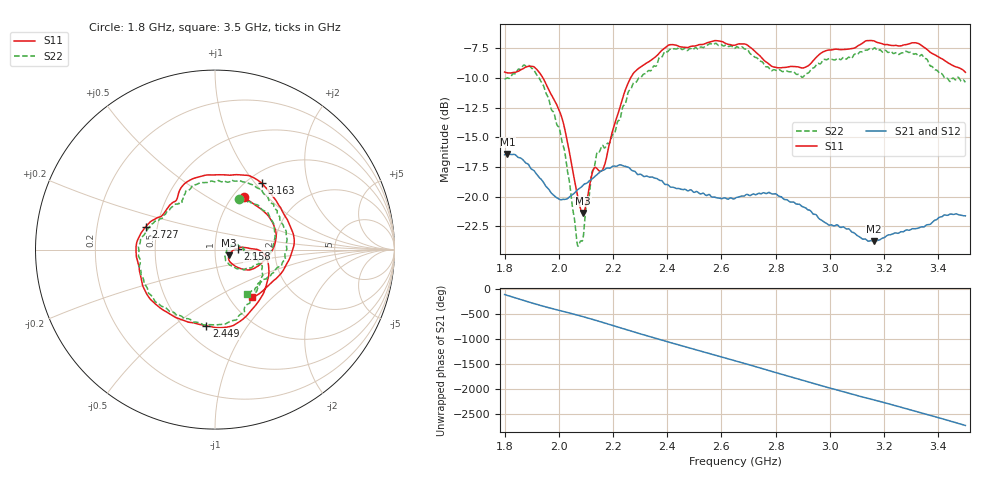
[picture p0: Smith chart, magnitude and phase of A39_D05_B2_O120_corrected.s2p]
! Created with skrf 1.9.0 (http://scikit-rf.org).
# Hz S RI R 50.0
!freq ReS11 ImS11 ReS21 ImS21 ReS12 ImS12 ReS22 ImS22
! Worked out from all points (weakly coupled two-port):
!   1601 points, 1.8 GHz to 3.5 GHz, reference 50 ohm
!   highest |S21| = -16.41 dB at 1.811 GHz (marker M1); lowest = -23.8 dB at 3.162 GHz (marker M2)
!   lowest |S11| = -21.4 dB at 2.09 GHz (marker M3), VSWR 1.19, Z = 58.5 - j3.62 ohm
!   |S11| at or under -10 dB: 1.942 GHz to 2.265 GHz (323.1 MHz wide, 15.4 % of centre)
!   |S22| runs from -24.2 to -7.1 dB; largest |S21 - S12| = 0.0027
!   S11 on the Smith chart (normalised r, x): 1.8 GHz: 1.13, +0.74; 2.158 GHz: 1.29, +0.01; 2.449 GHz: 0.64, -0.66; 2.727 GHz: 0.43, +0.13; 3.163 GHz: 1.16, +1.08; 3.5 GHz: 1.27, -0.75
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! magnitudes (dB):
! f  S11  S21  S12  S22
! 1.8 GHz  -9.5  -16.5  -16.5  -10.1
! 1.811 GHz  -9.6  -16.4  -16.4  -10.0
! 1.885 GHz  -9.0  -17.2  -17.3  -9.0
! 1.941 GHz  -10.0  -18.7  -18.7  -10.6
! 2.013 GHz  -13.5  -20.2  -20.3  -15.5
! 2.067 GHz  -19.7  -19.5  -19.5  -23.8
! 2.084 GHz  -21.2  -19.2  -19.1  -23.7
! 2.09 GHz  -21.4  -19.0  -19.1  -23.4
! 2.127 GHz  -17.7  -18.4  -18.4  -17.7
! 2.158 GHz  -17.8  -17.8  -17.8  -15.7
! 2.261 GHz  -10.2  -17.6  -17.6  -11.0
! 2.367 GHz  -8.0  -18.6  -18.5  -8.5
! 2.449 GHz  -7.4  -19.4  -19.4  -7.5
! 2.65 GHz  -7.2  -20.2  -20.1  -7.5
! 2.727 GHz  -7.8  -19.8  -19.9  -8.3
! 2.802 GHz  -9.1  -19.8  -19.8  -9.4
! 2.934 GHz  -8.7  -21.3  -21.3  -9.2
! 3.162 GHz  -6.9  -23.8  -23.7  -7.5
! 3.163 GHz  -6.9  -23.8  -23.7  -7.5
! 3.217 GHz  -7.2  -23.2  -23.2  -7.8
! 3.324 GHz  -7.1  -22.7  -22.6  -8.1
! 3.5 GHz  -9.5  -21.6  -21.6  -10.4
